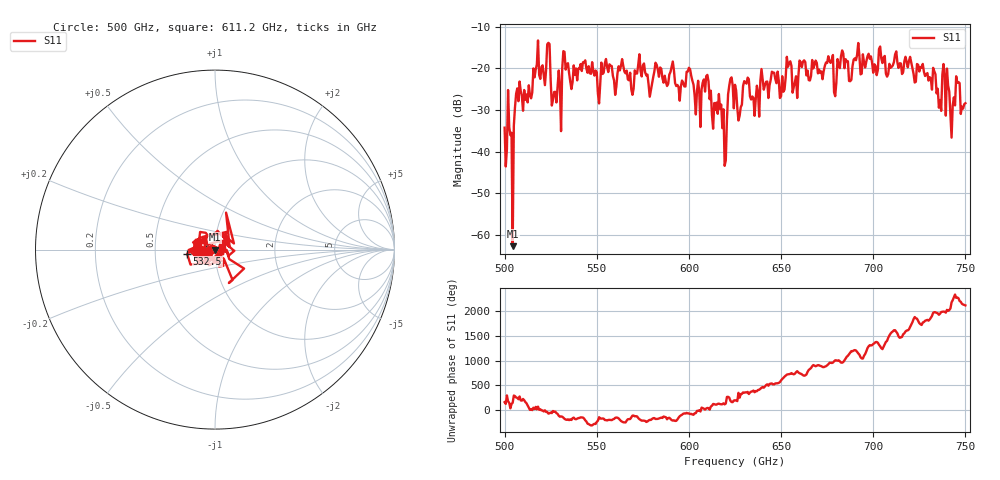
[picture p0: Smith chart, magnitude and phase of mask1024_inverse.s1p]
!Created with skrf (http://scikit-rf.org).
# GHz S MA R 50.0
!freq magS11 angS11
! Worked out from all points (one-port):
!   401 points, 500 GHz to 750 GHz, reference 50 ohm
!   lowest |S11| = -62.7 dB at 504.4 GHz (marker M1), VSWR 1.00, Z = 49.9 + j0.0355 ohm
!   |S11| at or under -10 dB: start of sweep to end of sweep
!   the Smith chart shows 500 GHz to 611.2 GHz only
!   S11 on the Smith chart (normalised r, x): 500 GHz: 0.96, +0.01; 532.5 GHz: 0.73, -0.03; 611.2 GHz: 1.09, +0.02
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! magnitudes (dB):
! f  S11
! 500 GHz  -34.3
! 502.5 GHz  -34.1
! 504.4 GHz  -62.7
! 506.9 GHz  -24.9
! 513.8 GHz  -26.4
! 516.9 GHz  -20.3
! 523.8 GHz  -13.9
! 526.9 GHz  -25.7
! 531.2 GHz  -20.2
! 532.5 GHz  -16.1
! 550.6 GHz  -26.1
! 562.5 GHz  -20.5
! 579.4 GHz  -25.3
! 590.6 GHz  -19.6
! 593.8 GHz  -24.0
! 600 GHz  -19.9
! 605 GHz  -23.0
! 611.2 GHz  -27.4
! 617.5 GHz  -28.7
! 619.4 GHz  -43.4
! 622.5 GHz  -22.6
! 625 GHz  -24.0
! 627.5 GHz  -31.5
! 656.2 GHz  -25.9
! 687.5 GHz  -23.1
! 691.2 GHz  -16.8
! 718.8 GHz  -19.8
! 750 GHz  -28.4
